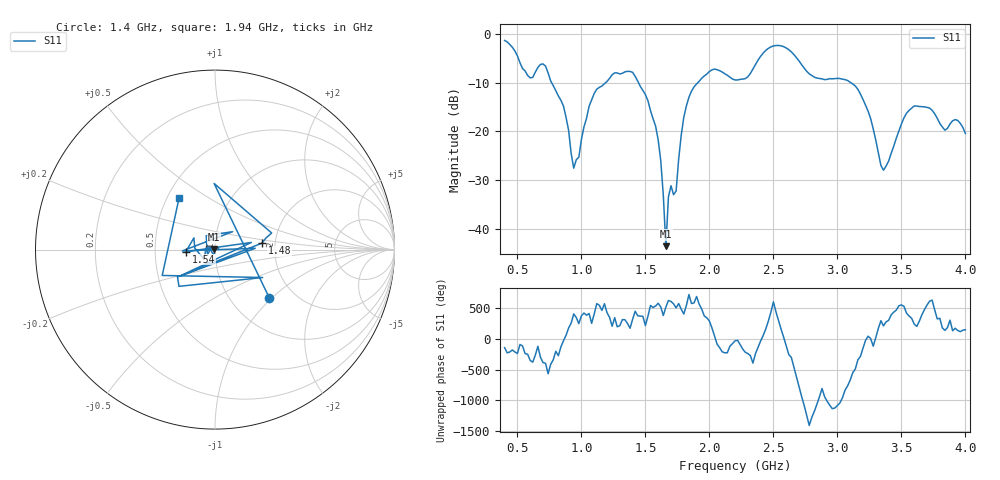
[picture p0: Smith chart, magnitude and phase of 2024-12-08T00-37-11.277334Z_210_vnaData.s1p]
!Created with skrf (http://scikit-rf.org).
# Hz S RI R 50.0
!freq ReS11 ImS11
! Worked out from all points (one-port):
!   181 points, 400 MHz to 4 GHz, reference 50 ohm
!   lowest |S11| = -43.6 dB at 1.66 GHz (marker M1), VSWR 1.01, Z = 49.4 + j0.239 ohm
!   |S11| at or under -10 dB: 767.6 MHz to 1.189 GHz (421.1 MHz wide, 43 % of centre); 1.446 GHz to 1.909 GHz (462.6 MHz wide, 27.6 % of centre); 3.106 GHz to end of sweep
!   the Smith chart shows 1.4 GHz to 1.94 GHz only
!   S11 on the Smith chart (normalised r, x): 1.4 GHz: 1.50, -0.96; 1.48 GHz: 1.70, +0.13; 1.54 GHz: 0.72, -0.02; 1.94 GHz: 0.58, +0.38
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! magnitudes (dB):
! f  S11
! 400 MHz  -1.3
! 600 MHz  -9.0
! 720 MHz  -6.6
! 860 MHz  -14.8
! 940 MHz  -27.6
! 1.1 GHz  -12.2
! 1.3 GHz  -8.2
! 1.4 GHz  -7.9
! 1.48 GHz  -11.6
! 1.54 GHz  -15.8
! 1.62 GHz  -26.0
! 1.66 GHz  -43.6
! 1.68 GHz  -33.5
! 1.74 GHz  -32.3
! 1.76 GHz  -25.7
! 1.82 GHz  -14.8
! 1.94 GHz  -9.1
! 2.2 GHz  -9.4
! 2.48 GHz  -2.6
! 2.66 GHz  -4.2
! 2.82 GHz  -8.9
! 3.1 GHz  -9.9
! 3.24 GHz  -15.9
! 3.36 GHz  -28.0
! 3.56 GHz  -15.7
! 3.72 GHz  -15.2
! 3.84 GHz  -19.8
! 4 GHz  -20.4
